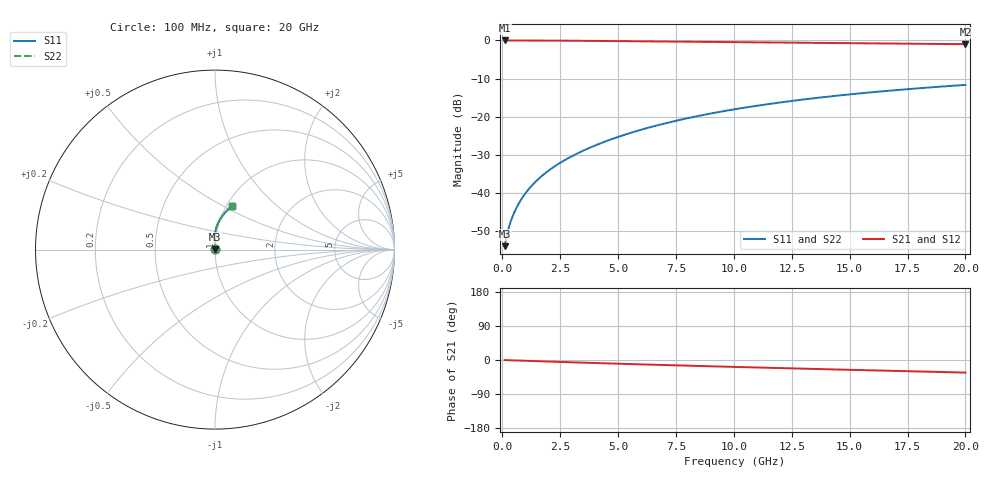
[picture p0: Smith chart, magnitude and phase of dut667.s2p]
! Touchstone file exported from HFSS 2024.1.0
!  File:  C:/UserFiles/LocalFiles/RDL_TSV_Batchsim/temp_RDL_top_667_1779781950.aedt
!  Generated:  03:54:32 PM May 26, 2026
!  Design:  RDL_top
!  Project:  temp_RDL_top_667_1779781950
!  Setup:  Setup1
!  Solution:  Sweep
! Variables:
!  dtsv = 10.80580581um
!  hbump = 3um
!  htsv = 86.54um
!  ldown = 100um
!  lrdl = 492.9um
!  p = 40
!  p1 = 51.1um
!  rhole = 1um
!  t = 450um
!  tdown = 3.915915916um
!  trdl = 4.31um
!  wdown = 15.38538539um
!  wrdl = 28.35um
# GHz S MA R 50.000000
! Terminal data exported
! Port[1] = Box2_T1
! Port[2] = Box2_T2
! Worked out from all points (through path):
!   200 points, 100 MHz to 20 GHz, reference 50 ohm
!   highest |S21| = -0.01 dB at 100 MHz (marker M1); lowest = -1.0 dB at 20 GHz (marker M2)
!   group delay of S21, straight-line fit = 4.54 ps
!   lowest |S11| = -53.9 dB at 100 MHz (marker M3), VSWR 1.00, Z = 50.2 + j0.116 ohm
!   |S11| at or under -10 dB: start of sweep to end of sweep
!   |S22| runs from -53.9 to -11.7 dB; largest |S21 - S12| = 3.2e-15
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0.1  0.002022 34.8  0.9983 -0.2  0.9983 -0.2  0.002022 34.8
! Gamma 0 0 0 0
! Port Impedance 50 0 50 0
0.2  0.002847 51.0  0.9982 -0.4  0.9982 -0.4  0.002847 51.0
0.3  0.003715 59.2  0.998 -0.6  0.998 -0.6  0.003715 59.2
0.4  0.004578 64.5  0.9978 -0.8  0.9978 -0.8  0.004578 64.5
0.5  0.005445 68.4  0.9977 -1.0  0.9977 -1.0  0.005446 68.4
0.6  0.006324 71.5  0.9975 -1.2  0.9975 -1.2  0.006324 71.5
0.8  0.00812 76.0  0.9972 -1.7  0.9972 -1.7  0.00812 76.0
1.1  0.0109 80.4  0.9967 -2.3  0.9967 -2.3  0.0109 80.3
1.3  0.0128 82.4  0.9962 -2.7  0.9962 -2.7  0.0128 82.4
1.6  0.01572 84.7  0.9954 -3.3  0.9954 -3.3  0.01572 84.7
2.1  0.02076 87.4  0.9938 -4.3  0.9938 -4.3  0.02076 87.3
2.7  0.0271 89.4  0.9915 -5.5  0.9915 -5.5  0.0271 89.4
3.5  0.03607 91.0  0.9876 -7.0  0.9876 -7.0  0.03606 91.0
4.2  0.04441 91.8  0.9838 -8.3  0.9838 -8.3  0.0444 91.7
5  0.05446 92.0  0.9791 -9.8  0.9791 -9.8  0.05446 92.0
6.8  0.07875 90.9  0.968 -13.0  0.968 -13.0  0.07873 90.9
8.4  0.1016 88.8  0.9579 -15.6  0.9579 -15.6  0.1015 88.8
10.1  0.1264 86.1  0.9476 -18.4  0.9476 -18.4  0.1263 86.0
11.7  0.1497 83.2  0.9382 -20.9  0.9382 -20.9  0.1496 83.2
13.4  0.174 80.1  0.9284 -23.5  0.9284 -23.5  0.174 80.1
16.7  0.2194 74.0  0.9101 -28.4  0.9101 -28.4  0.2193 74.0
20  0.2615 68.3  0.8922 -33.2  0.8922 -33.2  0.2614 68.3
